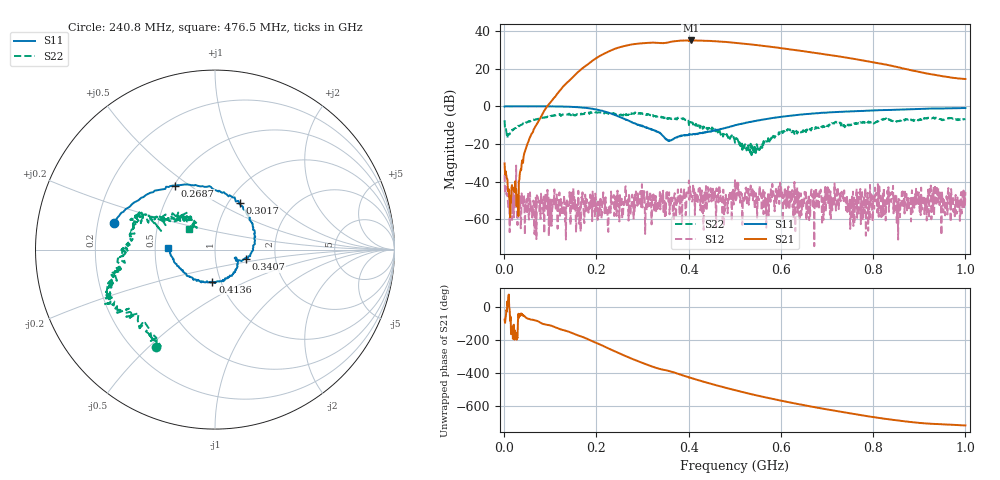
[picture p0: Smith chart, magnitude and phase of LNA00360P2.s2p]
! Created with skrf 1.9.0 (http://scikit-rf.org).
# Hz S RI R 50.0
!freq ReS11 ImS11 ReS21 ImS21 ReS12 ImS12 ReS22 ImS22
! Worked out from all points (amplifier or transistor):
!   1001 points, 1 MHz to 1 GHz, reference 50 ohm
!   highest |S21| = 35.0 dB at 404.6 MHz (marker M1)
!   |S21| within 3 dB of that: 260.2 MHz to 565.9 MHz (305.7 MHz wide, 74 % of centre)
!   unconditionally stable (mu >= 1): 26.47 MHz to 67.64 MHz; 264 MHz to 298.4 MHz; 298.9 MHz to end of sweep (the widest 3 of 33)
!   at 166.8 MHz: K = 1.21, MAG = 31.6 dB, |S12| = -49.1 dB
!   at 500.5 MHz: K = 1.07, MAG = 34.9 dB, |S12| = -39.3 dB
!   at 1 GHz: K = 2.57, MAG = 23.1 dB, |S12| = -45.6 dB
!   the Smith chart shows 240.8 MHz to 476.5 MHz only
!   S11 on the Smith chart (normalised r, x): 240.8 MHz: 0.27, +0.12; 268.7 MHz: 0.51, +0.44; 301.7 MHz: 1.12, +0.64; 340.7 MHz: 1.41, -0.16; 413.6 MHz: 0.91, -0.34; 476.5 MHz: 0.59, +0.01
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1000000  0.9857 0.0182  0.00802 -0.0293  -0.0152 -0.001  0.3321 0.2671
1.07893e8  0.5138 -0.8533  -0.765 -1.47  -0.00246 -0.00154  0.428 -0.3786
1.67833e8  -0.2632 -0.8903  -9.811 -0.4391  -0.00133 -0.00365  0.0172 -0.6317
2.08792e8  -0.6825 -0.3698  -15.26 16.29  0.000773 -0.00383  -0.2097 -0.6471
2.4076e8  -0.5616 0.15  -1.265 33.92  -0.000755 -0.00343  -0.3306 -0.5423
2.68732e8  -0.2214 0.3557  22.45 35.49  -0.00224 -0.00221  -0.4748 -0.3472
3.01699e8  0.1369 0.2606  44.76 16.7  0.000695 0.00387  -0.5892 -0.1977
3.34666e8  0.2039 -0.0133  47.38 -9.95  -0.00179 -0.000134  -0.541 -0.049
3.4066e8  0.1732 -0.0533  46.05 -13.42  0.00186 0.00244  -0.53 -0.0417
3.71629e8  0.1276 -0.073  42.51 -33.66  -0.000251 0.00199  -0.428 0.1527
4.04596e8  0.0275 -0.176  20.55 -52.38  0.0028 0.00381  -0.338 0.1673
4.13587e8  -0.0145 -0.1777  13.46 -54.3  0.000852 0.000973  -0.3075 0.1848
4.41559e8  -0.1576 -0.1455  -8.582 -54.3  0.000386 0.00716  -0.192 0.1536
4.76524e8  -0.26 0.00885  -30.17 -41.9  0.000636 2.71e-05  -0.144 0.114
5.005e8  -0.2815 0.1482  -39.18 -29.34  0.00754 0.00786  -0.0724 0.0792
5.39461e8  -0.1928 0.3455  -42.78 -7.776  0.00196 -0.00252  -0.0649 -0.0186
5.84416e8  0.0094 0.4937  -35.73 11.36  -0.000705 -0.00453  -0.1463 -0.0687
6.25375e8  0.2076 0.5341  -23.98 20.88  -0.00106 -0.00178  -0.1817 -0.1293
6.67333e8  0.4098 0.4927  -11.96 24.01  0.000759 -0.004  -0.2445 -0.0695
7.53247e8  0.6812 0.2743  4.948 17.95  -0.00059 -0.00295  -0.3182 -0.00366
8.34166e8  0.8004 0.0127  9.508 7.885  0.000322 -0.00153  -0.4325 0.045
1e9  0.7277 -0.5323  5.326 0.235  -0.00489 0.00191  -0.2449 0.3807
